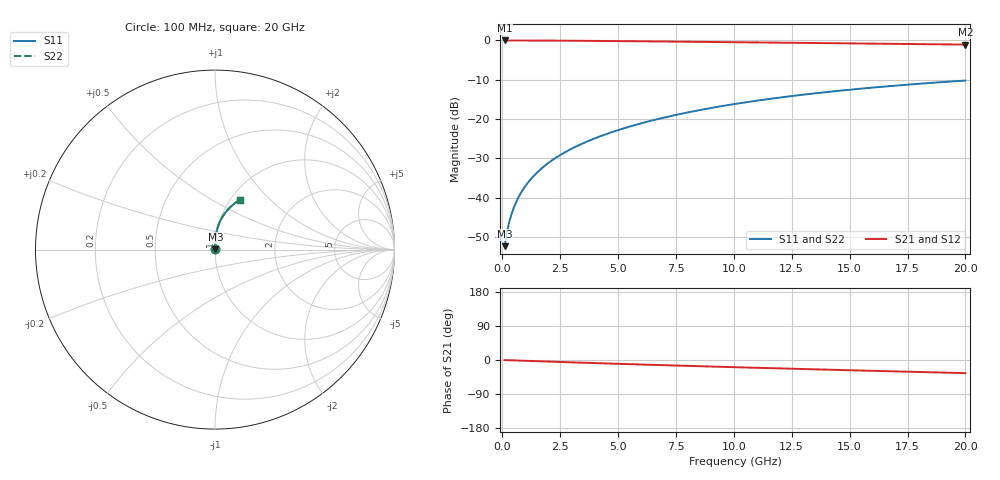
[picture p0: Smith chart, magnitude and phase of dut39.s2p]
! Touchstone file exported from HFSS 2024.1.0
!  File:  C:/UserFiles/LocalFiles/RDL_TSV_Batchsim/temp_RDL_bottom_39_1778692493.aedt
!  Generated:  01:17:00 AM May 14, 2026
!  Design:  RDL_bottom
!  Project:  temp_RDL_bottom_39_1778692493
!  Setup:  Setup1
!  Solution:  Sweep
! Variables:
!  dtsv = 10.80580581um
!  hbump = 3um
!  htsv = 62.54um
!  ldown = 503.19um
!  lrdl = 100um
!  p = 40
!  p1 = 49um
!  rhole = 1um
!  t = 450um
!  tdown = 4.56um
!  trdl = 3.915915916um
!  wdown = 23.05um
!  wrdl = 20um
# GHz S MA R 50.000000
! Terminal data exported
! Port[1] = RDL1_T1
! Port[2] = RDL1_T2
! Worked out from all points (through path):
!   200 points, 100 MHz to 20 GHz, reference 50 ohm
!   highest |S21| = -0.02 dB at 100 MHz (marker M1); lowest = -1.1 dB at 20 GHz (marker M2)
!   group delay of S21, straight-line fit = 4.76 ps
!   lowest |S11| = -52.3 dB at 100 MHz (marker M3), VSWR 1.00, Z = 50.2 + j0.155 ohm
!   |S11| at or under -10 dB: start of sweep to end of sweep
!   |S22| runs from -52.3 to -10.2 dB; largest |S21 - S12| = 3.1e-15
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0.1  0.002427 39.4  0.9981 -0.2  0.9981 -0.2  0.002427 39.4
! Gamma 0 0 0 0
! Port Impedance 50 0 50 0
0.2  0.003617 56.8  0.998 -0.4  0.998 -0.4  0.003617 56.8
0.3  0.004918 64.7  0.9978 -0.6  0.9978 -0.6  0.004918 64.7
0.4  0.006226 69.2  0.9977 -0.9  0.9977 -0.9  0.006226 69.2
0.5  0.007531 72.3  0.9975 -1.1  0.9975 -1.1  0.007532 72.3
0.6  0.008838 74.6  0.9974 -1.3  0.9974 -1.3  0.008838 74.6
0.8  0.01147 77.8  0.9971 -1.7  0.9971 -1.7  0.01147 77.8
1.1  0.01547 80.8  0.9966 -2.3  0.9966 -2.3  0.01547 80.8
1.3  0.01817 82.1  0.9962 -2.7  0.9962 -2.7  0.01817 82.1
1.6  0.02227 83.6  0.9954 -3.3  0.9954 -3.3  0.02227 83.6
2.1  0.02922 85.0  0.9939 -4.4  0.9939 -4.4  0.02922 85.0
2.7  0.03775 86.0  0.9917 -5.6  0.9917 -5.6  0.03775 86.0
3.5  0.04945 86.6  0.9881 -7.2  0.9881 -7.2  0.04945 86.6
4.2  0.06 86.7  0.9845 -8.6  0.9845 -8.6  0.05999 86.7
5  0.0724 86.4  0.9801 -10.1  0.9801 -10.1  0.07239 86.4
6.8  0.1014 84.9  0.9691 -13.4  0.9691 -13.4  0.1014 84.9
8.4  0.128 82.9  0.9589 -16.2  0.9589 -16.2  0.128 82.8
10.1  0.1565 80.3  0.948 -19.1  0.948 -19.1  0.1565 80.2
11.7  0.1831 77.6  0.9378 -21.8  0.9378 -21.8  0.1831 77.6
13.4  0.2108 74.7  0.9268 -24.5  0.9268 -24.5  0.2108 74.7
16.7  0.262 69.0  0.9056 -29.7  0.9056 -29.7  0.2619 69.0
20  0.309 63.5  0.8843 -34.7  0.8843 -34.7  0.3089 63.5
